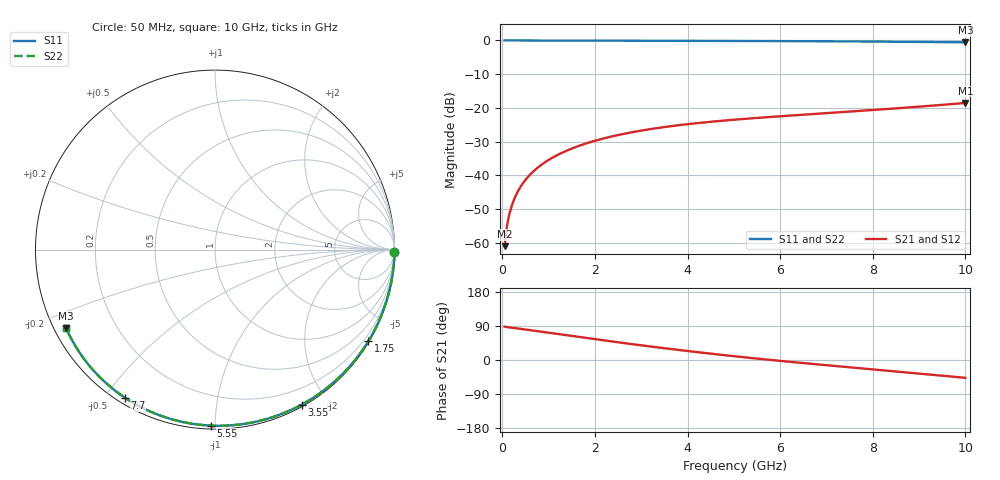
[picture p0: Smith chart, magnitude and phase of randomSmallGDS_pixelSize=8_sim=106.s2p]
! freq	dB(S11)	phase(S11)	dB(S12)	phase(S12)
!  dB(S21)	phase(S21)	dB(S22)	phase(S22)
!S-par simulation data
#  GHz  S  DB  R 50
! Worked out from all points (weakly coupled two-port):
!   200 points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, 50 MHz to 10 GHz, reference 50 ohm
!   highest |S21| = -18.53 dB at 10 GHz (marker M1); lowest = -61.0 dB at 50 MHz (marker M2)
!   lowest |S11| = -0.6 dB at 10 GHz (marker M3), VSWR 31.24, Z = 1.7 - j12.4 ohm
!   |S11| at or under -10 dB: nowhere
!   |S22| runs from -0.6 to 0.0 dB; largest |S21 - S12| = 0
!   S11 on the Smith chart (normalised r, x): 50 MHz: open; 1.75 GHz: 0.03, -3.62; 3.55 GHz: 0.02, -1.70; 5.55 GHz: 0.02, -0.98; 7.7 GHz: 0.02, -0.56; 10 GHz: 0.03, -0.25
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0.05  -0.00 -0.9  -60.98 88.2  -60.98 88.2  -0.00 -0.9
0.1  -0.00 -1.8  -55.06 86.9  -55.06 86.9  -0.00 -1.8
0.15  -0.00 -2.7  -51.63 86.0  -51.63 86.0  -0.00 -2.7
0.2  -0.00 -3.6  -49.18 85.2  -49.18 85.2  -0.00 -3.6
0.25  -0.00 -4.5  -47.28 84.5  -47.28 84.5  -0.00 -4.5
0.35  -0.00 -6.3  -44.40 82.9  -44.40 82.9  -0.00 -6.3
0.5  -0.01 -9.0  -41.34 80.4  -41.34 80.4  -0.01 -9.0
0.7  -0.01 -12.5  -38.46 77.1  -38.46 77.1  -0.01 -12.5
1  -0.02 -17.8  -35.42 71.9  -35.42 71.9  -0.02 -17.8
1.35  -0.03 -23.9  -32.91 65.9  -32.91 65.9  -0.03 -23.9
1.75  -0.04 -30.9  -30.80 59.1  -30.80 59.1  -0.04 -30.8
2.5  -0.06 -43.6  -28.04 46.6  -28.04 46.6  -0.06 -43.6
3.4  -0.09 -58.4  -25.86 32.5  -25.86 32.5  -0.09 -58.4
3.55  -0.09 -60.8  -25.58 30.3  -25.58 30.3  -0.09 -60.8
4.3  -0.12 -72.6  -24.38 19.5  -24.38 19.5  -0.12 -72.6
5.05  -0.14 -84.0  -23.44 9.4  -23.44 9.4  -0.14 -83.9
5.55  -0.17 -91.3  -22.91 3.1  -22.91 3.1  -0.17 -91.3
6.7  -0.23 -107.6  -21.84 -10.4  -21.84 -10.4  -0.23 -107.6
7.7  -0.30 -121.3  -20.92 -21.4  -20.92 -21.4  -0.30 -121.3
8.35  -0.36 -130.0  -20.29 -28.4  -20.29 -28.4  -0.36 -130.0
9.2  -0.45 -141.4  -19.41 -37.7  -19.41 -37.7  -0.45 -141.3
10  -0.56 -152.2  -18.53 -47.0  -18.53 -47.0  -0.56 -152.1
